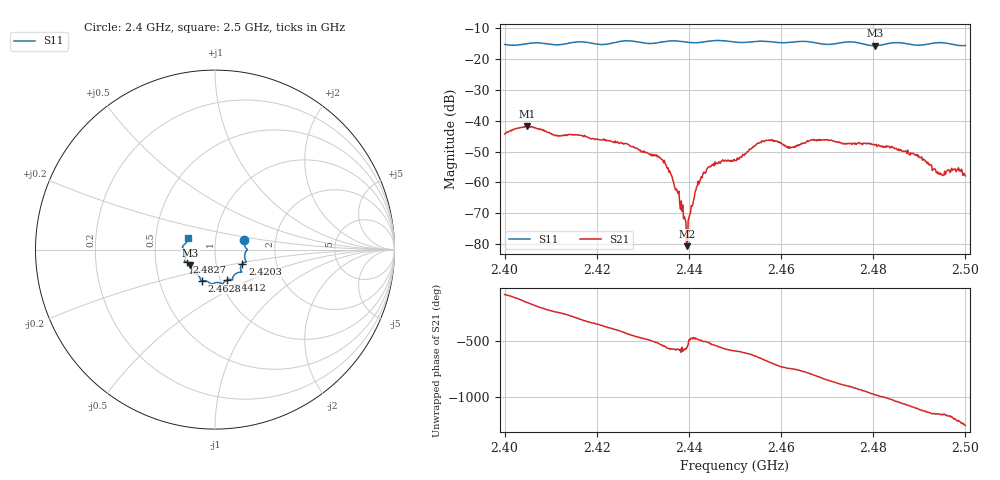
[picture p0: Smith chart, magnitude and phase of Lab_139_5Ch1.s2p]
# Hz S RI R 50
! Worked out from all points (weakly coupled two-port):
!   601 points, 2.4 GHz to 2.5 GHz, reference 50 ohm
!   highest |S21| = -41.84 dB at 2.4048 GHz (marker M1); lowest = -80.6 dB at 2.4397 GHz (marker M2)
!   lowest |S11| = -15.8 dB at 2.4803 GHz (marker M3), VSWR 1.39, Z = 37.4 - j6.76 ohm
!   |S11| at or under -10 dB: start of sweep to end of sweep
!   S12 and S22 are empty: the file has one direction only
!   S11 on the Smith chart (normalised r, x): 2.4 GHz: 1.38, +0.15; 2.4203 GHz: 1.34, -0.22; 2.4412 GHz: 1.08, -0.38; 2.4628 GHz: 0.82, -0.29; 2.4827 GHz: 0.72, -0.10; 2.5 GHz: 0.73, +0.10
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2.4e9  0.1621 0.053  0.000243 -0.00606  0 0  0 0
2.404833e9  0.1758 0.00411  -0.00745 -0.00315  0 0  0 0
2.416667e9  0.1744 -0.0696  0.0038 0.00437  0 0  0 0
2.420333e9  0.1522 -0.0793  0.00488 0.000594  0 0  0 0
2.433333e9  0.0999 -0.1524  -0.00247 -0.00096  0 0  0 0
2.436e9  0.0983 -0.1681  -0.00116 0.000792  0 0  0 0
2.438167e9  0.0942 -0.1671  -0.000313 0.000197  0 0  0 0
2.439167e9  0.0878 -0.1654  -0.000226 0.000115  0 0  0 0
2.439667e9  0.0836 -0.1652  -9.21e-05 1.52e-05  0 0  0 0
2.441167e9  0.0686 -0.1682  -0.0002 -0.000533  0 0  0 0
2.444333e9  0.0454 -0.1873  -0.00163 -0.000735  0 0  0 0
2.45e9  0.0248 -0.1844  -0.0015 0.00168  0 0  0 0
2.456333e9  -0.0211 -0.1912  0.00276 0.00364  0 0  0 0
2.462833e9  -0.0719 -0.1733  0.00327 -0.00194  0 0  0 0
2.466667e9  -0.0805 -0.1678  0.00134 -0.00475  0 0  0 0
2.480333e9  -0.1367 -0.0879  -0.000912 0.00392  0 0  0 0
2.482667e9  -0.1577 -0.0705  0.000819 0.00379  0 0  0 0
2.483333e9  -0.163 -0.0684  0.00127 0.00357  0 0  0 0
2.49e9  -0.1645 -0.0216  0.00222 -0.00119  0 0  0 0
2.494667e9  -0.1817 0.0171  0.000365 -0.00129  0 0  0 0
2.498e9  -0.1623 0.0369  -0.000746 -0.00129  0 0  0 0
2.5e9  -0.151 0.0644  -0.00125 -0.000254  0 0  0 0
